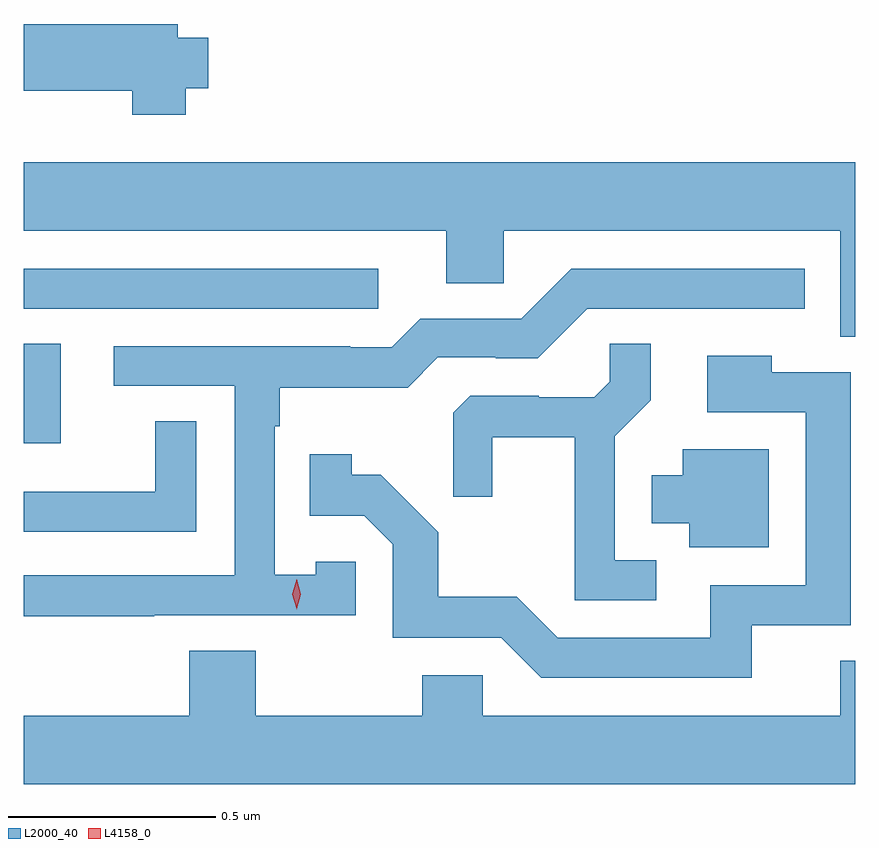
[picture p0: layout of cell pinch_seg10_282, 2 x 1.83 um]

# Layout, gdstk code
import gdstk
lib = gdstk.Library(unit=1e-6, precision=1e-09)
def R(c, l, rs):  # rectangles x0, y0, x1, y1
    for r in rs: c.add(gdstk.rectangle(r[:2], r[2:], *l))
def P(c, l, *ps):  # polygons
    for p in ps: c.add(gdstk.Polygon(p, *l))
L2000_40 = (2000, 40)
L4158_0 = (4158, 0)

pinch_seg10_282 = lib.new_cell('pinch_seg10_282')
R(pinch_seg10_282, L2000_40, [(516.051,1289.148,516.139,1289.387), (516.051,1289.472,516.904,1289.568)])
P(pinch_seg10_282, L2000_40, [(516.44,1290.002),(516.494,1290.002),(516.494,1290.124),(516.421,1290.124),(516.421,1290.157),(516.051,1290.157),(516.051,1289.996),(516.312,1289.996),(516.312,1289.939),(516.44,1289.939)],
  [(518.051,1289.824),(516.051,1289.824),(516.051,1289.66),(517.067,1289.66),(517.067,1289.533),(517.206,1289.533),(517.206,1289.66),(518.015,1289.66),(518.015,1289.404),(518.051,1289.404)],
  [(516.365,1288.734),(516.849,1288.734),(516.849,1288.863),(516.753,1288.863),(516.753,1288.831),(516.654,1288.831),(516.654,1289.189),(516.667,1289.189),(516.667,1289.282),(516.974,1289.282),(517.047,1289.355),(517.186,1289.355),(517.186,1289.352),(517.287,1289.352),(517.407,1289.472),(517.93,1289.472),(517.93,1289.568),(517.368,1289.568),(517.248,1289.448),(517.005,1289.448),(516.936,1289.379),(516.836,1289.379),(516.836,1289.382),(516.267,1289.382),(516.267,1289.286),(516.558,1289.286),(516.558,1288.83),(516.051,1288.83),(516.051,1288.732),(516.365,1288.732)],
  [(517.573,1288.866),(517.473,1288.866),(517.473,1289.165),(517.559,1289.251),(517.559,1289.387),(517.461,1289.387),(517.461,1289.296),(517.424,1289.259),(517.29,1289.259),(517.29,1289.262),(517.125,1289.262),(517.084,1289.221),(517.084,1289.019),(517.178,1289.019),(517.178,1289.162),(517.376,1289.162),(517.376,1288.77),(517.573,1288.77)],
  [(517.802,1288.71),(518.041,1288.71),(518.041,1289.319),(517.851,1289.319),(517.851,1289.359),(517.695,1289.359),(517.695,1289.223),(517.932,1289.223),(517.932,1288.806),(517.703,1288.806),(517.703,1288.68),(517.335,1288.68),(517.237,1288.779),(517.048,1288.779),(517.048,1288.934),(516.91,1289.072),(516.84,1289.072),(516.84,1289.122),(516.739,1289.122),(516.739,1288.974),(516.87,1288.974),(516.939,1288.905),(516.939,1288.68),(517.2,1288.68),(517.296,1288.584),(517.802,1288.584)],
  [(516.465,1289.201),(516.367,1289.201),(516.367,1289.031),(516.051,1289.031),(516.051,1288.935),(516.465,1288.935)],
  [(517.843,1289.134),(517.637,1289.134),(517.637,1289.071),(517.562,1289.071),(517.562,1288.955),(517.652,1288.955),(517.652,1288.898),(517.843,1288.898)],
  [(518.051,1288.625),(518.015,1288.625),(518.015,1288.492),(517.155,1288.492),(517.155,1288.59),(517.009,1288.59),(517.009,1288.492),(516.609,1288.492),(516.609,1288.649),(516.449,1288.649),(516.449,1288.492),(516.051,1288.492),(516.051,1288.328),(518.051,1288.328)])
P(pinch_seg10_282, L4158_0, [(516.707,1288.749),(516.707,1288.75),(516.697,1288.785),(516.707,1288.821),(516.707,1288.821),(516.707,1288.821),(516.717,1288.785),(516.707,1288.75)])

lib.write_gds('pinch_seg10_282.gds')
